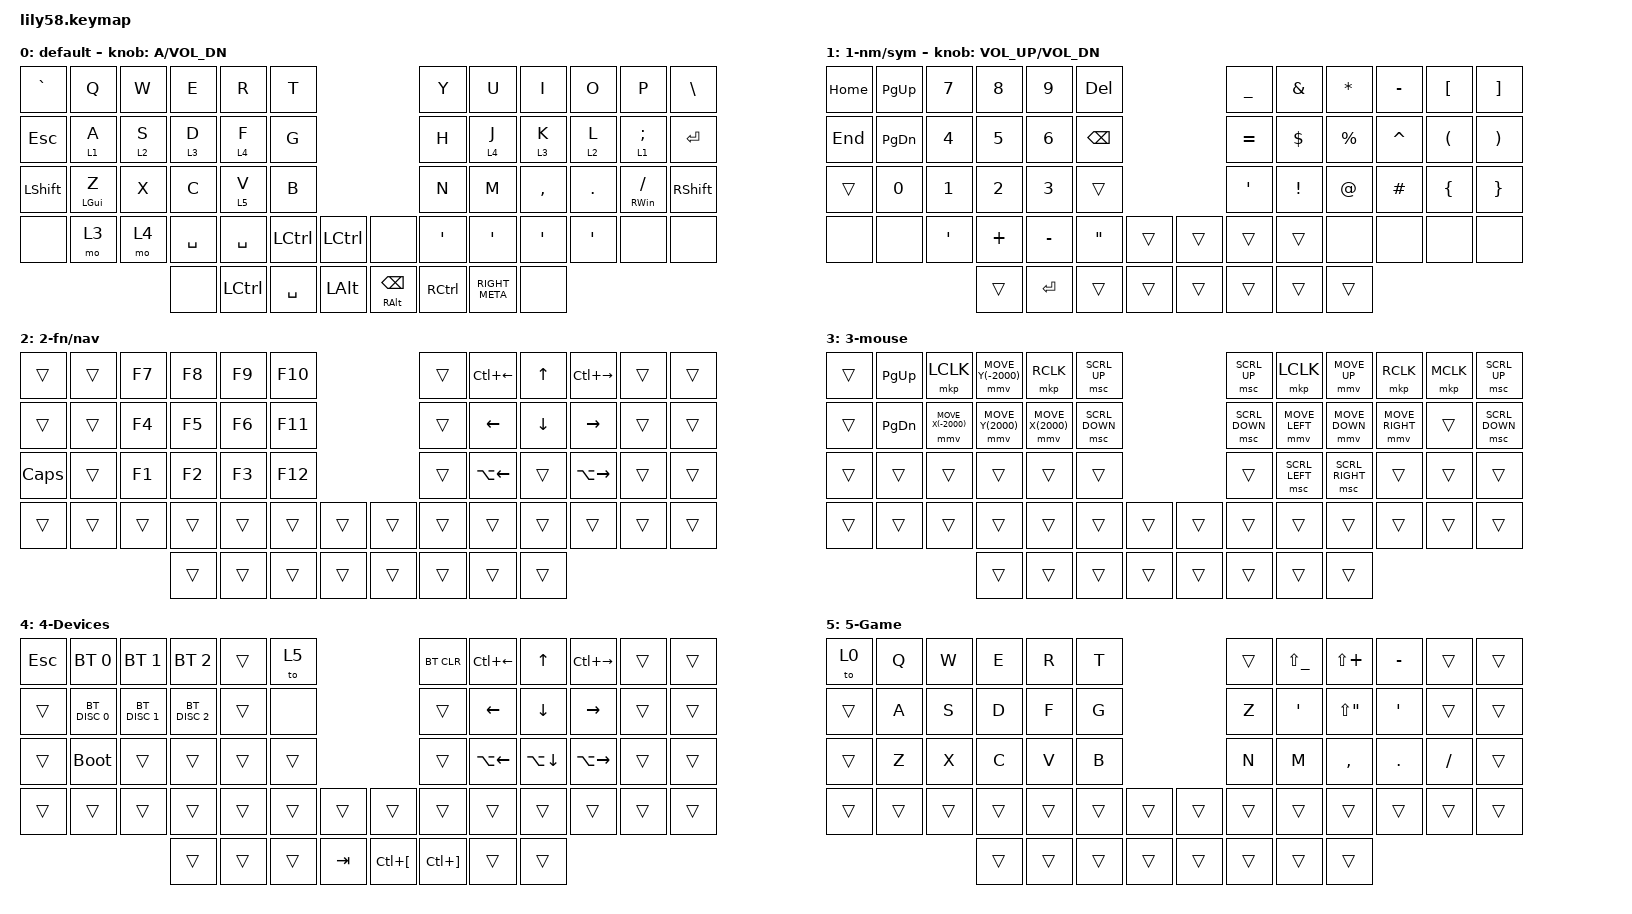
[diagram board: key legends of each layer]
/*
 * Copyright (c) 2020 The ZMK Contributors
 *
 *  SPDX-License-Identifier: MIT
 */

#include <dt-bindings/zmk/mouse.h>
#include <behaviors.dtsi>
#include <dt-bindings/zmk/bt.h>
#include <dt-bindings/zmk/keys.h>
#include <dt-bindings/zmk/pointing.h>

/ {
    behaviors {
        mmv_fast: mmv_fast {
            compatible = "zmk,behavior-mouse-move";
            #binding-cells = <1>;
            params = <1500>;
        };

        msc_fast: msc_fast {
            compatible = "zmk,behavior-mouse-scroll";
            #binding-cells = <1>;
            params = <20>;
        };

        home_row_mods: home_row_mods {
            compatible = "zmk,behavior-hold-tap";
            bindings = <&kp>, <&kp>;

            #binding-cells = <2>;
            tapping-term-ms = <400>;
            quick-tap-ms = <400>;
            require-prior-idle-ms = <400>;
            flavor = "hold-preferred";
        };

        num_and_symbol: num_and_symbol {
            compatible = "zmk,behavior-hold-tap";
            bindings = <&kp>, <&kp>;

            #binding-cells = <2>;
            tapping-term-ms = <400>;
            quick-tap-ms = <400>;
            require-prior-idle-ms = <400>;
            flavor = "tap-preferred";
        };

        hr_lt: hr_lt {
            compatible = "zmk,behavior-hold-tap";
            #binding-cells = <2>;
            tapping-term-ms = <700>;
            quick-tap-ms = <200>;
            require-prior-idle-ms = <100>;
            flavor = "tap-preferred";
            bindings = <&mo>, <&kp>;
        };

        bottom_row_mods: bottom_row_mods {
            compatible = "zmk,behavior-hold-tap";
            #binding-cells = <2>;
            tapping-term-ms = <600>;
            quick-tap-ms = <200>;
            require-prior-idle-ms = <100>;
            flavor = "tap-preferred";
            bindings = <&kp>, <&kp>;
        };

        hr_lt_conservative: hr_lt_conservative {
            compatible = "zmk,behavior-hold-tap";
            #binding-cells = <2>;
            tapping-term-ms = <600>;
            quick-tap-ms = <200>;
            require-prior-idle-ms = <200>;
            flavor = "tap-preferred";
            bindings = <&mo>, <&kp>;
        };

        hr_mt: hr_mt {
            compatible = "zmk,behavior-hold-tap";
            #binding-cells = <2>;
            tapping-term-ms = <400>;
            quick-tap-ms = <175>;
            require-prior-idle-ms = <150>;
            flavor = "tap-preferred";
            bindings = <&kp>, <&kp>;
        };
    };

    macros {
        new_macro: new_macro {
            compatible = "zmk,behavior-macro";
            #binding-cells = <0>;
            bindings = <&none>;
            label = "NEW_MACRO";
        };
    };

    keymap {
        compatible = "zmk,keymap";

        default_layer {
            display-name = "default";
            bindings = <
&kp GRAVE       &kp Q                    &kp W       &kp E       &kp R       &kp T                                               &kp Y              &kp U             &kp I             &kp O             &kp P                &kp BACKSLASH
&kp ESC         &hr_lt 1 A               &hr_lt 2 S  &hr_lt 3 D  &hr_lt 4 F  &kp G                                               &kp H              &hr_lt 4 J        &hr_lt 3 K        &hr_lt 2 L        &hr_lt 1 SEMICOLON   &kp ENTER
&kp LEFT_SHIFT  &bottom_row_mods LGUI Z  &kp X       &kp C       &lt 5 V     &kp B                                               &kp N              &kp M             &kp COMMA         &kp PERIOD        &mt RIGHT_WIN SLASH  &kp RIGHT_SHIFT
&none           &mo 3                    &mo 4       &kp SPACE   &kp SPACE   &kp LCTRL  &kp LCTRL       &none                    &kp SINGLE_QUOTE   &kp SINGLE_QUOTE  &kp SINGLE_QUOTE  &kp SINGLE_QUOTE  &none                &none
                                                     &none       &kp LCTRL   &kp SPACE  &kp LEFT_ALT    &mt RIGHT_ALT BACKSPACE  &kp RIGHT_CONTROL  &kp RIGHT_META    &none
            >;

            sensor-bindings = <&inc_dec_kp A C_VOL_DN>;
        };

        L1_numsAndSymb {
            display-name = "1-nm/sym";
            bindings = <
&kp HOME  &kp PAGE_UP    &kp N7        &kp N8        &kp N9        &kp DEL                              &kp UNDER  &kp AMPERSAND    &kp ASTERISK  &kp MINUS  &kp LEFT_BRACKET      &kp RIGHT_BRACKET
&kp END   &kp PAGE_DOWN  &kp NUMBER_4  &kp N5        &kp NUMBER_6  &kp BACKSPACE                        &kp EQUAL  &kp DOLLAR       &kp PERCENT   &kp CARET  &kp LEFT_PARENTHESIS  &kp RIGHT_PARENTHESIS
&trans    &kp N0         &kp NUMBER_1  &kp NUMBER_2  &kp NUMBER_3  &trans                               &kp SQT    &kp EXCLAMATION  &kp AT_SIGN   &kp HASH   &kp LEFT_BRACE        &kp RIGHT_BRACE
&none     &none          &kp SQT       &kp PLUS      &kp MINUS     &kp DOUBLE_QUOTES  &trans    &trans  &trans     &trans           &none         &none      &none                 &none
                                       &trans        &kp ENTER     &trans             &trans    &trans  &trans     &trans           &trans
            >;

            sensor-bindings = <&inc_dec_kp C_VOL_UP C_VOL_DN>;
        };

        L2_function_stuff {
            display-name = "2-fn/nav";
            bindings = <
&trans    &trans  &kp F7  &kp F8  &kp F9  &kp F10                    &trans  &kp LC(LEFT)  &kp UP    &kp LC(RIGHT)  &trans  &trans
&trans    &trans  &kp F4  &kp F5  &kp F6  &kp F11                    &trans  &kp LEFT      &kp DOWN  &kp RIGHT      &trans  &trans
&kp CAPS  &trans  &kp F1  &kp F2  &kp F3  &kp F12                    &trans  &kp LA(LEFT)  &trans    &kp LA(RIGHT)  &trans  &trans
&trans    &trans  &trans  &trans  &trans  &trans   &trans    &trans  &trans  &trans        &trans    &trans         &trans  &trans
                          &trans  &trans  &trans   &trans    &trans  &trans  &trans        &trans
            >;
        };

        L3mousestuff {
            display-name = "3-mouse";
            bindings = <
&trans  &kp PAGE_UP    &mkp LCLK           &mmv MOVE_Y(-2000)  &mkp RCLK          &msc SCRL_UP                      &msc SCRL_UP    &mkp LCLK       &mmv MOVE_UP     &mkp RCLK        &mkp MCLK  &msc SCRL_UP
&trans  &kp PAGE_DOWN  &mmv MOVE_X(-2000)  &mmv MOVE_Y(2000)   &mmv MOVE_X(2000)  &msc SCRL_DOWN                    &msc SCRL_DOWN  &mmv MOVE_LEFT  &mmv MOVE_DOWN   &mmv MOVE_RIGHT  &trans     &msc SCRL_DOWN
&trans  &trans         &trans              &trans              &trans             &trans                            &trans          &msc SCRL_LEFT  &msc SCRL_RIGHT  &trans           &trans     &trans
&trans  &trans         &trans              &trans              &trans             &trans          &trans    &trans  &trans          &trans          &trans           &trans           &trans     &trans
                                           &trans              &trans             &trans          &trans    &trans  &trans          &trans          &trans
            >;
        };

        homerowstuffs {
            display-name = "4-Devices";
            bindings = <
&kp ESCAPE  &bt BT_SEL 0   &bt BT_SEL 1   &bt BT_SEL 2   &trans  &to 5                                    &bt BT_CLR             &kp LC(LEFT)  &kp UP        &kp LC(RIGHT)  &trans  &trans
&trans      &bt BT_DISC 0  &bt BT_DISC 1  &bt BT_DISC 2  &trans  &none                                    &trans                 &kp LEFT      &kp DOWN      &kp RIGHT      &trans  &trans
&trans      &bootloader    &trans         &trans         &trans  &trans                                   &trans                 &kp LA(LEFT)  &kp LA(DOWN)  &kp LA(RIGHT)  &trans  &trans
&trans      &trans         &trans         &trans         &trans  &trans  &trans     &trans                &trans                 &trans        &trans        &trans         &trans  &trans
                                          &trans         &trans  &trans  &kp TAB    &kp LC(LEFT_BRACKET)  &kp LC(RIGHT_BRACKET)  &trans        &trans
            >;
        };

        anotherSymbolLayer {
            display-name = "5-Game";
            bindings = <
&to 0   &kp Q   &kp W   &kp E   &kp R   &kp T                     &trans  &kp LS(UNDER)  &kp LS(PLUS)  &kp MINUS         &trans    &trans
&trans  &kp A   &kp S   &kp D   &kp F   &kp G                     &kp Z   &kp SQT        &kp LS(DQT)   &kp SINGLE_QUOTE  &trans    &trans
&trans  &kp Z   &kp X   &kp C   &kp V   &kp B                     &kp N   &kp M          &kp COMMA     &kp DOT           &kp FSLH  &trans
&trans  &trans  &trans  &trans  &trans  &trans  &trans    &trans  &trans  &trans         &trans        &trans            &trans    &trans
                        &trans  &trans  &trans  &trans    &trans  &trans  &trans         &trans
            >;
        };
    };
};
